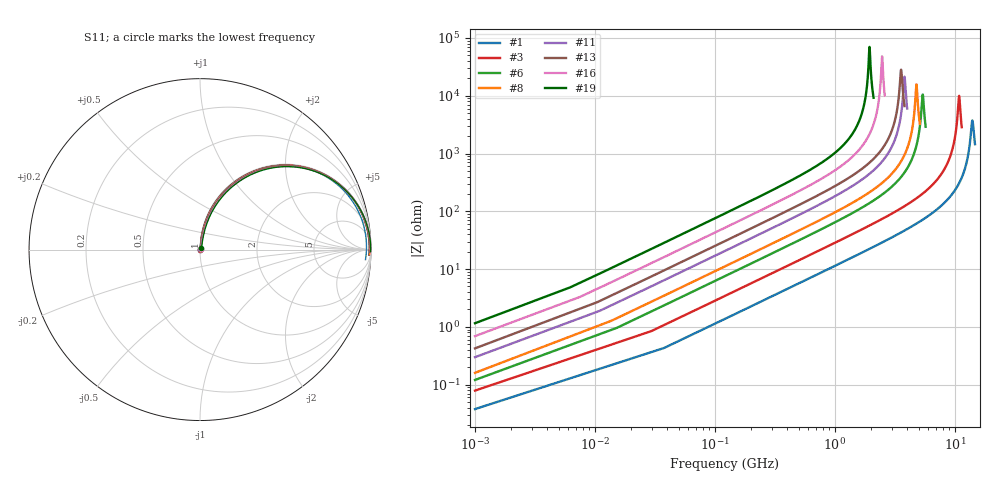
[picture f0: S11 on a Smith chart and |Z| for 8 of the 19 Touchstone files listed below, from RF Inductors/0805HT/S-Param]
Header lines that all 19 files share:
! 24 June 2002
# MHZ S MA R 50
!Freq  MagS11  AngS11  MagS21  AngS21  MagS12  AngS12  MagS22  AngS22
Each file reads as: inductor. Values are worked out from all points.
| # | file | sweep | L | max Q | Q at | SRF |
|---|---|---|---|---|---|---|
| 1 | 08HT1N8.S2P | 1 MHz to 14.7 GHz | 1.8 nH | 92.9 | 4.07 GHz | 13.99 GHz |
| 2 | 08HT3N9.S2P | 1 MHz to 12.5 GHz | 4 nH | 98.9 | 3.773 GHz | 11.85 GHz |
| 3 | 08HT4N7.S2P | 1 MHz to 11.4 GHz | 4.5 nH | 94.3 | 3.413 GHz | 10.8 GHz |
| 4 | 08HT6N8.S2P | 1 MHz to 9.5 GHz | 6.9 nH | 87.9 | 3.033 GHz | 9.027 GHz |
| 5 | 08HT8N2.S2P | 1 MHz to 8.1 GHz | 8.2 nH | 81.6 | 2.566 GHz | 7.697 GHz |
| 6 | 08HT10N.S2P | 1 MHz to 5.7 GHz | 9.9 nH | 85.2 | 1.735 GHz | 5.387 GHz |
| 7 | 08HT12N.S2P | 1 MHz to 7.1 GHz | 12 nH | 96.3 | 2.231 GHz | 6.692 GHz |
| 8 | 08HT15N.S2P | 1 MHz to 5.1 GHz | 14.6 nH | 89.2 | 1.578 GHz | 4.771 GHz |
| 9 | 08HT18N.S2P | 1 MHz to 5.5 GHz | 17.6 nH | 95 | 1.756 GHz | 5.211 GHz |
| 10 | 08HT22N.S2P | 1 MHz to 5.4 GHz | 22 nH | 96.7 | 1.885 GHz | 5.358 GHz |
| 11 | 08HT27N.S2P | 1 MHz to 4 GHz | 27 nH | 81.7 | 1.257 GHz | 3.8 GHz |
| 12 | 08HT33N.S2P | 1 MHz to 3.9 GHz | 33 nH | 86.1 | 1.177 GHz | 3.636 GHz |
| 13 | 08HT39N.S2P | 1 MHz to 3.8 GHz | 40 nH | 88.5 | 1.147 GHz | 3.552 GHz |
| 14 | 08HT47N.S2P | 1 MHz to 3.6 GHz | 47 nH | 74.1 | 1.106 GHz | 3.351 GHz |
| 15 | 08HT56N.S2P | 1 MHz to 3.2 GHz | 56 nH | 74 | 1.078 GHz | 3.001 GHz |
| 16 | 08HT68N.S2P | 1 MHz to 2.6 GHz | 68 nH | 68.1 | 927.6 MHz | 2.47 GHz |
| 17 | 08HT82N.S2P | 1 MHz to 2.6 GHz | 81 nH | 68.6 | 934.1 MHz | 2.476 GHz |
| 18 | 08HTR10.S2P | 1 MHz to 2.2 GHz | 101 nH | 70.5 | 779.2 MHz | 2.061 GHz |
| 19 | 08HTR12.S2P | 1 MHz to 2.1 GHz | 120 nH | 75.8 | 728 MHz | 1.941 GHz |
